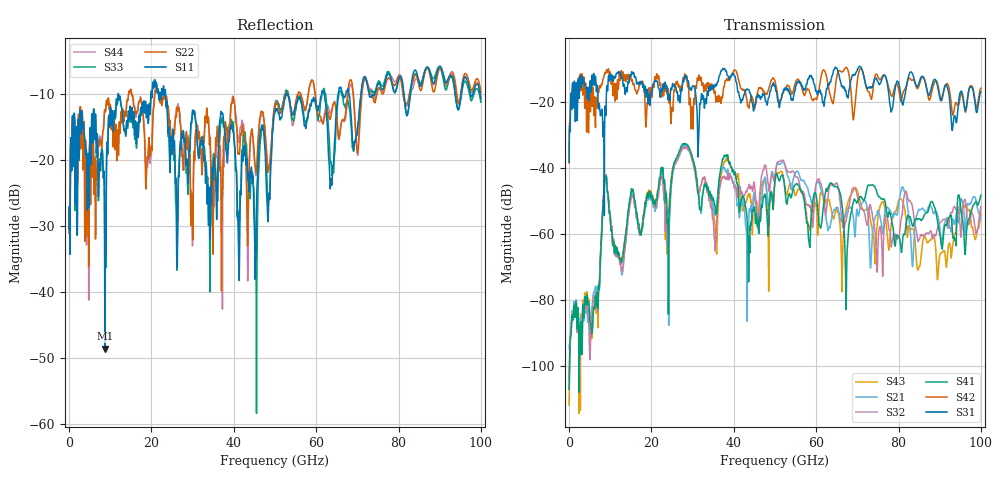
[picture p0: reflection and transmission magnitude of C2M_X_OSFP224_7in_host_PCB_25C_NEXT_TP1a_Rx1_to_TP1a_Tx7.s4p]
# GHz S RI R 45
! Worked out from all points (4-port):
!   4000 points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, 25 MHz to 100 GHz, reference 45 ohm
!   strongest paths, dB at 25 MHz, 25.02 GHz, 50.02 GHz, 75.03 GHz, 100 GHz:
!     S31: -38.3, -15.4, -15.2, -14.0, -17.0
!     S42: -38.6, -21.8, -13.7, -12.6, -15.9
!     S41: -107.0, -42.0, -43.8, -48.3, -48.3
!     S32: -103.7, -43.1, -42.4, -63.4, -51.8
!     S21: -93.7, -43.9, -41.9, -53.0, -55.1
!     S43: -111.8, -41.5, -44.1, -54.7, -53.5
!   lowest |S11| = -48.6 dB at 8.7 GHz (marker M1), VSWR 1.01, Z = 44.8 + j0.258 ohm
!   |S11| at or under -10 dB: start of sweep to 11.91 GHz; 23.45 GHz to 52.67 GHz (29.21 GHz wide, 76.8 % of centre); 53.13 GHz to 61.34 GHz (8.213 GHz wide, 14.3 % of centre) (the widest 3 of 18)
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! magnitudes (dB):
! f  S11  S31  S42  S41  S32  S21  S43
! 25 MHz  -30.5  -38.3  -38.6  -107.0  -103.7  -93.7  -111.8
! 6.875 GHz  -16.4  -15.2  -18.9  -77.9  -78.4  -76.1  -79.8
! 8.7 GHz  -48.6  -23.4  -11.2  -43.5  -43.2  -43.5  -43.1
! 12.75 GHz  -11.9  -13.0  -11.6  -68.8  -71.6  -72.1  -68.2
! 28.3 GHz  -18.4  -12.9  -12.9  -32.8  -33.7  -33.0  -33.5
! 67.33 GHz  -9.5  -17.6  -9.6  -79.0  -55.8  -53.4  -52.3
! 100 GHz  -10.7  -17.0  -15.9  -48.3  -51.8  -55.1  -53.5
